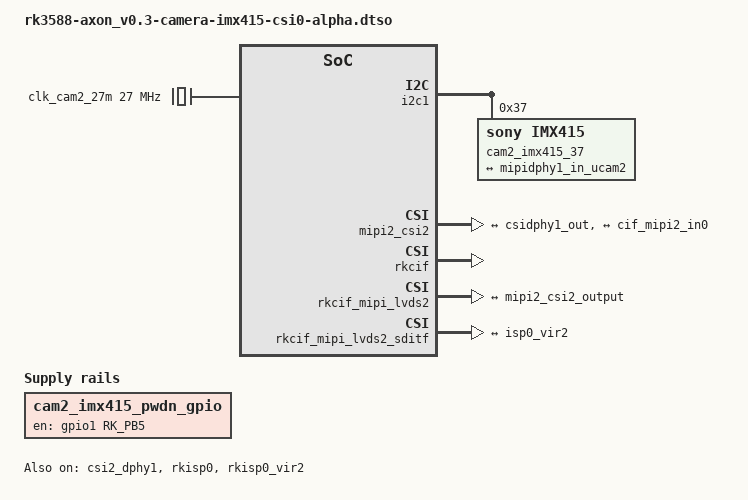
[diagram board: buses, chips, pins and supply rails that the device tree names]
// SPDX-License-Identifier: GPL-2.0+
// Copyright (C) 2026 Vicharak Computers PVT LTD

/dts-v1/;
/plugin/;

#include <dt-bindings/gpio/gpio.h>
#include <dt-bindings/pinctrl/rockchip.h>

&{/} {
	metadata {
		title = "Enable 8.3MP Camera (IMX415) on CSI0 Alpha Axon V0.3";
		compatible = "vicharak,rk3588-axon", "rockchip,rk3588";
		category = "camera";
		exclusive = "cam2", "imx415_1_37", "csi2_dphy1", "mipi2_csi2", \
			    "rkcif_mipi_lvds2", "rkcif_mipi_lvds2_sditf", \
			    "rkisp0_vir2";
		description = "Enables IMX415 based 8.3MP Camera on
\t\tVicharak Axon at I2C 1 bus address 37 on dphy1";
	};

	cam2_imx415_pwdn_gpio: cam2-pwdn-gpio {
		status = "okay";
		compatible = "regulator-fixed";
		regulator-name = "cam2_pwdn_gpio";
		regulator-always-on;
		regulator-boot-on;
		enable-active-high;
		gpio = <&gpio1 RK_PB5 GPIO_ACTIVE_HIGH>;
		pinctrl-names = "default";
		pinctrl-0 = <&cam2_pwdn_gpio>;
	};

	clk_cam2_27m: external-cam2-clock-27m {
		status = "okay";
		compatible = "fixed-clock";
		clock-frequency = <27000000>;
		clock-output-names = "clk_cam2_27m";
		#clock-cells = <0>;
	};
};

&i2c1 {
	status = "okay";
	#address-cells = <1>;
	#size-cells = <0>;
	
	cam2_imx415_37: cam2-imx415@37 {
		status = "okay";
		compatible = "sony,imx415";
		reg = <0x37>;

		clocks = <&clk_cam2_27m>;
		clock-names = "xvclk";

		rockchip,camera-module-index = <2>;
		rockchip,camera-module-facing = "front";
		rockchip,camera-module-name = "default";
		rockchip,camera-module-lens-name = "default";

		port {
			cam2_imx415_out0: endpoint {
				remote-endpoint = <&mipidphy1_in_ucam2>;
				data-lanes = <1 2>;
			};
		};
	};
};

&csi2_dphy1 {
	status = "okay";

	ports {
		#address-cells = <1>;
		#size-cells = <0>;

		port@0 {
			reg = <0>;
			#address-cells = <1>;
			#size-cells = <0>;

			mipidphy1_in_ucam2: endpoint@1 {
				reg = <1>;
				remote-endpoint = <&cam2_imx415_out0>;
				data-lanes = <1 2>;
			};

		};

		port@1 {
			reg = <1>;
			#address-cells = <1>;
			#size-cells = <0>;

			csidphy1_out: endpoint@0 {
				reg = <0>;
				remote-endpoint = <&mipi2_csi2_input>;
			};
		};
	};
};

&mipi2_csi2 {
	status = "okay";

	ports {
		#address-cells = <1>;
		#size-cells = <0>;

		port@0 {
			reg = <0>;
			#address-cells = <1>;
			#size-cells = <0>;

			mipi2_csi2_input: endpoint@1 {
				reg = <1>;
				remote-endpoint = <&csidphy1_out>;
			};
		};

		port@1 {
			reg = <1>;
			#address-cells = <1>;
			#size-cells = <0>;

			mipi2_csi2_output: endpoint@0 {
				reg = <0>;
				remote-endpoint = <&cif_mipi2_in0>;
			};
		};
	};
};

&rkcif {
	status = "okay";
};

&rkcif_mipi_lvds2 {
	status = "okay";

	port {
		cif_mipi2_in0: endpoint {
			remote-endpoint = <&mipi2_csi2_output>;
		};
	};
};

&rkcif_mipi_lvds2_sditf {
	status = "okay";

	port {
		mipi_lvds2_sditf: endpoint {
			remote-endpoint = <&isp0_vir2>;
		};
	};
};

&rkcif_mmu {
	status = "okay";
};

&rkisp0 {
	status = "okay";
};

&isp0_mmu {
	status = "okay";
};

&rkisp0_vir2 {
	status = "okay";

	port {
		#address-cells = <1>;
		#size-cells = <0>;

		isp0_vir2: endpoint@0 {
			reg = <0>;
			remote-endpoint = <&mipi_lvds2_sditf>;
		};
	};
};

&pinctrl {
	camera {
		cam2_pwdn_gpio: cam2-pwdn-gpio {
			rockchip,pins = <1 RK_PB5 RK_FUNC_GPIO &pcfg_pull_up>;
		};
	};
};
